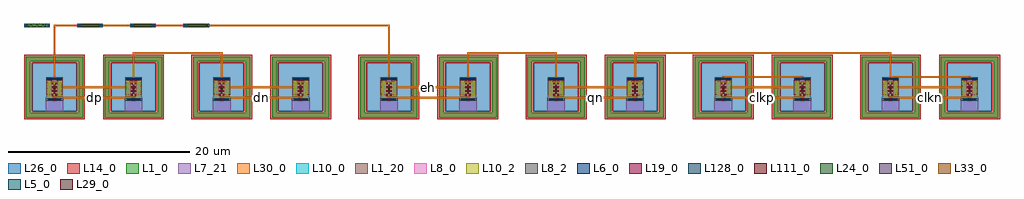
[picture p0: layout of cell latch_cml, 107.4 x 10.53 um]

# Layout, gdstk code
import gdstk
lib = gdstk.Library(unit=1e-6, precision=1e-09)
def R(c, l, rs):  # rectangles x0, y0, x1, y1
    for r in rs: c.add(gdstk.rectangle(r[:2], r[2:], *l))
def A(c, l, x, y, w, h, nx, ny, dx, dy):  # array of equal rectangles
    R(c, l, [(x+i*dx, y+j*dy, x+i*dx+w, y+j*dy+h) for i in range(nx) for j in range(ny)])
def P(c, l, *ps):  # polygons
    for p in ps: c.add(gdstk.Polygon(p, *l))
L1_0 = (1, 0)
L1_20 = (1, 20)
L5_0 = (5, 0)
L6_0 = (6, 0)
L7_21 = (7, 21)
L8_0 = (8, 0)
L8_2 = (8, 2)
L10_0 = (10, 0)
L10_2 = (10, 2)
L14_0 = (14, 0)
L19_0 = (19, 0)
L24_0 = (24, 0)
L26_0 = (26, 0)
L29_0 = (29, 0)
L30_0 = (30, 0)
L33_0 = (33, 0)
L51_0 = (51, 0)
L111_0 = (111, 0)
L128_0 = (128, 0)

npn13g2_base_cdns_675179 = lib.new_cell('npn13G2_base_CDNS_675179387640')
R(npn13g2_base_cdns_675179, L1_0, [(-0.925,-1.28,0.925,-0.98)])
P(npn13g2_base_cdns_675179, L1_20, [(-0.925,-0.98),(-0.925,0.62),(-0.445,0.62),(-0.235,0.83),(0.235,0.83),(0.445,0.62),(0.925,0.62),(0.925,-0.98)])
R(npn13g2_base_cdns_675179, L6_0, [(-0.825,-1.21,0.825,-1.05), (-0.76,1.06,0.76,1.22)])
P(npn13g2_base_cdns_675179, L7_21, [(-0.305,-0.94),(-0.555,-0.69),(-0.555,0.48),(-0.975,0.9),(-0.975,2.43),(0.975,2.43),(0.975,0.9),(0.555,0.48),(0.555,-0.69),(0.305,-0.94)])
R(npn13g2_base_cdns_675179, L8_0, [(-0.925,-1.25,0.925,-1.01), (-0.35,-0.77,0.35,0.785), (-0.975,1.02,0.975,1.26)])
R(npn13g2_base_cdns_675179, L10_0, [(-0.925,-0.77,0.925,0.785)])
A(npn13g2_base_cdns_675179, L19_0, -0.3, -0.7, 0.19, 0.19, 1, 4, 0, 0.41)
A(npn13g2_base_cdns_675179, L19_0, 0.11, -0.7, 0.19, 0.19, 1, 4, 0, 0.41)
R(npn13g2_base_cdns_675179, L33_0, [(-0.035,-0.45,0.035,0.45), (-0.035,-0.45,0.035,0.45)])
R(npn13g2_base_cdns_675179, L51_0, [(-0.085,-0.5,0.085,0.5)])
npn13g2_base_cdns_675179.add(gdstk.Label('npn13G2', (0.015,-2.31), layer=63, texttype=0))
npn13g2_base_cdns_675179.add(gdstk.Label('npn13G2_base', (0,0), layer=51, texttype=0))

npn13g2 = lib.new_cell('npn13G2')
P(npn13g2, L1_0, [(-3.15,-3.13),(-3.15,3.58),(2.65,3.58),(2.65,3.08),(-2.65,3.08),(-2.65,-2.63),(2.65,-2.63),(2.65,3.58),(3.15,3.58),(3.15,-3.13)])
R(npn13g2, L8_2, [(-0.965,-1.26,0.975,-1.02), (-0.915,1.01,0.925,1.25)])
R(npn13g2, L10_2, [(-0.745,-0.78,0.745,0.77)])
P(npn13g2, L14_0, [(-3.35,-3.33),(-3.35,3.78),(2.45,3.78),(2.45,2.88),(-2.45,2.88),(-2.45,-2.43),(2.45,-2.43),(2.45,3.78),(3.35,3.78),(3.35,-3.33)])
R(npn13g2, L26_0, [(-2.45,-2.43,2.45,2.88)])
npn13g2.add(gdstk.Reference(npn13g2_base_cdns_675179, (0,0), x_reflection=True))
npn13g2.add(gdstk.Label('Ae=1*1*0.07*0.90', (-1.977,-2.546), layer=63, texttype=0))
npn13g2.add(gdstk.Label('E', (0,-0.005), layer=63, texttype=0))
npn13g2.add(gdstk.Label('B', (0.005,-1.14), layer=63, texttype=0))
npn13g2.add(gdstk.Label('C', (0.005,1.13), layer=63, texttype=0))

xqs1__latch_cml_xqs1 = lib.new_cell('XQs1__latch_cml_XQs1')
xqs1__latch_cml_xqs1.add(gdstk.Reference(npn13g2, (3.35,3.33)))
xqs1__latch_cml_xqs1.add(gdstk.Reference(npn13g2, (12.05,3.33)))

c_npn13g2_base_cdns_675179 = lib.new_cell('npn13G2_base_CDNS_675179387640$1')
R(c_npn13g2_base_cdns_675179, L1_0, [(-0.925,-1.28,0.925,-0.98)])
P(c_npn13g2_base_cdns_675179, L1_20, [(-0.925,-0.98),(-0.925,0.62),(-0.445,0.62),(-0.235,0.83),(0.235,0.83),(0.445,0.62),(0.925,0.62),(0.925,-0.98)])
R(c_npn13g2_base_cdns_675179, L6_0, [(-0.825,-1.21,0.825,-1.05), (-0.76,1.06,0.76,1.22)])
P(c_npn13g2_base_cdns_675179, L7_21, [(-0.305,-0.94),(-0.555,-0.69),(-0.555,0.48),(-0.975,0.9),(-0.975,2.43),(0.975,2.43),(0.975,0.9),(0.555,0.48),(0.555,-0.69),(0.305,-0.94)])
R(c_npn13g2_base_cdns_675179, L8_0, [(-0.925,-1.25,0.925,-1.01), (-0.35,-0.77,0.35,0.785), (-0.975,1.02,0.975,1.26)])
R(c_npn13g2_base_cdns_675179, L10_0, [(-0.925,-0.77,0.925,0.785)])
A(c_npn13g2_base_cdns_675179, L19_0, -0.3, -0.7, 0.19, 0.19, 1, 4, 0, 0.41)
A(c_npn13g2_base_cdns_675179, L19_0, 0.11, -0.7, 0.19, 0.19, 1, 4, 0, 0.41)
R(c_npn13g2_base_cdns_675179, L33_0, [(-0.035,-0.45,0.035,0.45), (-0.035,-0.45,0.035,0.45)])
R(c_npn13g2_base_cdns_675179, L51_0, [(-0.085,-0.5,0.085,0.5)])
c_npn13g2_base_cdns_675179.add(gdstk.Label('npn13G2', (0.015,-2.31), layer=63, texttype=0))
c_npn13g2_base_cdns_675179.add(gdstk.Label('npn13G2_base', (0,0), layer=51, texttype=0))

npn13g2_1 = lib.new_cell('npn13G2$1')
P(npn13g2_1, L1_0, [(-3.15,-3.13),(-3.15,3.58),(2.65,3.58),(2.65,3.08),(-2.65,3.08),(-2.65,-2.63),(2.65,-2.63),(2.65,3.58),(3.15,3.58),(3.15,-3.13)])
R(npn13g2_1, L8_2, [(-0.965,-1.26,0.975,-1.02), (-0.915,1.01,0.925,1.25)])
R(npn13g2_1, L10_2, [(-0.745,-0.78,0.745,0.77)])
P(npn13g2_1, L14_0, [(-3.35,-3.33),(-3.35,3.78),(2.45,3.78),(2.45,2.88),(-2.45,2.88),(-2.45,-2.43),(2.45,-2.43),(2.45,3.78),(3.35,3.78),(3.35,-3.33)])
R(npn13g2_1, L26_0, [(-2.45,-2.43,2.45,2.88)])
npn13g2_1.add(gdstk.Reference(c_npn13g2_base_cdns_675179, (0,0), x_reflection=True))
npn13g2_1.add(gdstk.Label('Ae=1*1*0.07*0.90', (-1.977,-2.546), layer=63, texttype=0))
npn13g2_1.add(gdstk.Label('E', (0,-0.005), layer=63, texttype=0))
npn13g2_1.add(gdstk.Label('B', (0.005,-1.14), layer=63, texttype=0))
npn13g2_1.add(gdstk.Label('C', (0.005,1.13), layer=63, texttype=0))

xqs2__latch_cml_xqs2 = lib.new_cell('XQs2__latch_cml_XQs2')
xqs2__latch_cml_xqs2.add(gdstk.Reference(npn13g2_1, (3.35,3.33)))
xqs2__latch_cml_xqs2.add(gdstk.Reference(npn13g2_1, (12.05,3.33)))

c_npn13g2_base_cdns_675179_ = lib.new_cell('npn13G2_base_CDNS_675179387640$2')
R(c_npn13g2_base_cdns_675179_, L1_0, [(-0.925,-1.28,0.925,-0.98)])
P(c_npn13g2_base_cdns_675179_, L1_20, [(-0.925,-0.98),(-0.925,0.62),(-0.445,0.62),(-0.235,0.83),(0.235,0.83),(0.445,0.62),(0.925,0.62),(0.925,-0.98)])
R(c_npn13g2_base_cdns_675179_, L6_0, [(-0.825,-1.21,0.825,-1.05), (-0.76,1.06,0.76,1.22)])
P(c_npn13g2_base_cdns_675179_, L7_21, [(-0.305,-0.94),(-0.555,-0.69),(-0.555,0.48),(-0.975,0.9),(-0.975,2.43),(0.975,2.43),(0.975,0.9),(0.555,0.48),(0.555,-0.69),(0.305,-0.94)])
R(c_npn13g2_base_cdns_675179_, L8_0, [(-0.925,-1.25,0.925,-1.01), (-0.35,-0.77,0.35,0.785), (-0.975,1.02,0.975,1.26)])
R(c_npn13g2_base_cdns_675179_, L10_0, [(-0.925,-0.77,0.925,0.785)])
A(c_npn13g2_base_cdns_675179_, L19_0, -0.3, -0.7, 0.19, 0.19, 1, 4, 0, 0.41)
A(c_npn13g2_base_cdns_675179_, L19_0, 0.11, -0.7, 0.19, 0.19, 1, 4, 0, 0.41)
R(c_npn13g2_base_cdns_675179_, L33_0, [(-0.035,-0.45,0.035,0.45), (-0.035,-0.45,0.035,0.45)])
R(c_npn13g2_base_cdns_675179_, L51_0, [(-0.085,-0.5,0.085,0.5)])
c_npn13g2_base_cdns_675179_.add(gdstk.Label('npn13G2', (0.015,-2.31), layer=63, texttype=0))
c_npn13g2_base_cdns_675179_.add(gdstk.Label('npn13G2_base', (0,0), layer=51, texttype=0))

npn13g2_2 = lib.new_cell('npn13G2$2')
P(npn13g2_2, L1_0, [(-3.15,-3.13),(-3.15,3.58),(2.65,3.58),(2.65,3.08),(-2.65,3.08),(-2.65,-2.63),(2.65,-2.63),(2.65,3.58),(3.15,3.58),(3.15,-3.13)])
R(npn13g2_2, L8_2, [(-0.965,-1.26,0.975,-1.02), (-0.915,1.01,0.925,1.25)])
R(npn13g2_2, L10_2, [(-0.745,-0.78,0.745,0.77)])
P(npn13g2_2, L14_0, [(-3.35,-3.33),(-3.35,3.78),(2.45,3.78),(2.45,2.88),(-2.45,2.88),(-2.45,-2.43),(2.45,-2.43),(2.45,3.78),(3.35,3.78),(3.35,-3.33)])
R(npn13g2_2, L26_0, [(-2.45,-2.43,2.45,2.88)])
npn13g2_2.add(gdstk.Reference(c_npn13g2_base_cdns_675179_, (0,0), x_reflection=True))
npn13g2_2.add(gdstk.Label('Ae=1*1*0.07*0.90', (-1.977,-2.546), layer=63, texttype=0))
npn13g2_2.add(gdstk.Label('E', (0,-0.005), layer=63, texttype=0))
npn13g2_2.add(gdstk.Label('B', (0.005,-1.14), layer=63, texttype=0))
npn13g2_2.add(gdstk.Label('C', (0.005,1.13), layer=63, texttype=0))

xqh1__latch_cml_xqh1 = lib.new_cell('XQh1__latch_cml_XQh1')
xqh1__latch_cml_xqh1.add(gdstk.Reference(npn13g2_2, (3.35,3.33)))
xqh1__latch_cml_xqh1.add(gdstk.Reference(npn13g2_2, (12.05,3.33)))

c_npn13g2_base_cdns_675179__ = lib.new_cell('npn13G2_base_CDNS_675179387640$3')
R(c_npn13g2_base_cdns_675179__, L1_0, [(-0.925,-1.28,0.925,-0.98)])
P(c_npn13g2_base_cdns_675179__, L1_20, [(-0.925,-0.98),(-0.925,0.62),(-0.445,0.62),(-0.235,0.83),(0.235,0.83),(0.445,0.62),(0.925,0.62),(0.925,-0.98)])
R(c_npn13g2_base_cdns_675179__, L6_0, [(-0.825,-1.21,0.825,-1.05), (-0.76,1.06,0.76,1.22)])
P(c_npn13g2_base_cdns_675179__, L7_21, [(-0.305,-0.94),(-0.555,-0.69),(-0.555,0.48),(-0.975,0.9),(-0.975,2.43),(0.975,2.43),(0.975,0.9),(0.555,0.48),(0.555,-0.69),(0.305,-0.94)])
R(c_npn13g2_base_cdns_675179__, L8_0, [(-0.925,-1.25,0.925,-1.01), (-0.35,-0.77,0.35,0.785), (-0.975,1.02,0.975,1.26)])
R(c_npn13g2_base_cdns_675179__, L10_0, [(-0.925,-0.77,0.925,0.785)])
A(c_npn13g2_base_cdns_675179__, L19_0, -0.3, -0.7, 0.19, 0.19, 1, 4, 0, 0.41)
A(c_npn13g2_base_cdns_675179__, L19_0, 0.11, -0.7, 0.19, 0.19, 1, 4, 0, 0.41)
R(c_npn13g2_base_cdns_675179__, L33_0, [(-0.035,-0.45,0.035,0.45), (-0.035,-0.45,0.035,0.45)])
R(c_npn13g2_base_cdns_675179__, L51_0, [(-0.085,-0.5,0.085,0.5)])
c_npn13g2_base_cdns_675179__.add(gdstk.Label('npn13G2', (0.015,-2.31), layer=63, texttype=0))
c_npn13g2_base_cdns_675179__.add(gdstk.Label('npn13G2_base', (0,0), layer=51, texttype=0))

npn13g2_3 = lib.new_cell('npn13G2$3')
P(npn13g2_3, L1_0, [(-3.15,-3.13),(-3.15,3.58),(2.65,3.58),(2.65,3.08),(-2.65,3.08),(-2.65,-2.63),(2.65,-2.63),(2.65,3.58),(3.15,3.58),(3.15,-3.13)])
R(npn13g2_3, L8_2, [(-0.965,-1.26,0.975,-1.02), (-0.915,1.01,0.925,1.25)])
R(npn13g2_3, L10_2, [(-0.745,-0.78,0.745,0.77)])
P(npn13g2_3, L14_0, [(-3.35,-3.33),(-3.35,3.78),(2.45,3.78),(2.45,2.88),(-2.45,2.88),(-2.45,-2.43),(2.45,-2.43),(2.45,3.78),(3.35,3.78),(3.35,-3.33)])
R(npn13g2_3, L26_0, [(-2.45,-2.43,2.45,2.88)])
npn13g2_3.add(gdstk.Reference(c_npn13g2_base_cdns_675179__, (0,0), x_reflection=True))
npn13g2_3.add(gdstk.Label('Ae=1*1*0.07*0.90', (-1.977,-2.546), layer=63, texttype=0))
npn13g2_3.add(gdstk.Label('E', (0,-0.005), layer=63, texttype=0))
npn13g2_3.add(gdstk.Label('B', (0.005,-1.14), layer=63, texttype=0))
npn13g2_3.add(gdstk.Label('C', (0.005,1.13), layer=63, texttype=0))

xqh2__latch_cml_xqh2 = lib.new_cell('XQh2__latch_cml_XQh2')
xqh2__latch_cml_xqh2.add(gdstk.Reference(npn13g2_3, (3.35,3.33)))
xqh2__latch_cml_xqh2.add(gdstk.Reference(npn13g2_3, (12.05,3.33)))

c_npn13g2_base_cdns_675179___ = lib.new_cell('npn13G2_base_CDNS_675179387640$4')
R(c_npn13g2_base_cdns_675179___, L1_0, [(-0.925,-1.28,0.925,-0.98)])
P(c_npn13g2_base_cdns_675179___, L1_20, [(-0.925,-0.98),(-0.925,0.62),(-0.445,0.62),(-0.235,0.83),(0.235,0.83),(0.445,0.62),(0.925,0.62),(0.925,-0.98)])
R(c_npn13g2_base_cdns_675179___, L6_0, [(-0.825,-1.21,0.825,-1.05), (-0.76,1.06,0.76,1.22)])
P(c_npn13g2_base_cdns_675179___, L7_21, [(-0.305,-0.94),(-0.555,-0.69),(-0.555,0.48),(-0.975,0.9),(-0.975,2.43),(0.975,2.43),(0.975,0.9),(0.555,0.48),(0.555,-0.69),(0.305,-0.94)])
R(c_npn13g2_base_cdns_675179___, L8_0, [(-0.925,-1.25,0.925,-1.01), (-0.35,-0.77,0.35,0.785), (-0.975,1.02,0.975,1.26)])
R(c_npn13g2_base_cdns_675179___, L10_0, [(-0.925,-0.77,0.925,0.785)])
A(c_npn13g2_base_cdns_675179___, L19_0, -0.3, -0.7, 0.19, 0.19, 1, 4, 0, 0.41)
A(c_npn13g2_base_cdns_675179___, L19_0, 0.11, -0.7, 0.19, 0.19, 1, 4, 0, 0.41)
R(c_npn13g2_base_cdns_675179___, L33_0, [(-0.035,-0.45,0.035,0.45), (-0.035,-0.45,0.035,0.45)])
R(c_npn13g2_base_cdns_675179___, L51_0, [(-0.085,-0.5,0.085,0.5)])
c_npn13g2_base_cdns_675179___.add(gdstk.Label('npn13G2', (0.015,-2.31), layer=63, texttype=0))
c_npn13g2_base_cdns_675179___.add(gdstk.Label('npn13G2_base', (0,0), layer=51, texttype=0))

npn13g2_4 = lib.new_cell('npn13G2$4')
P(npn13g2_4, L1_0, [(-3.15,-3.13),(-3.15,3.58),(2.65,3.58),(2.65,3.08),(-2.65,3.08),(-2.65,-2.63),(2.65,-2.63),(2.65,3.58),(3.15,3.58),(3.15,-3.13)])
R(npn13g2_4, L8_2, [(-0.965,-1.26,0.975,-1.02), (-0.915,1.01,0.925,1.25)])
R(npn13g2_4, L10_2, [(-0.745,-0.78,0.745,0.77)])
P(npn13g2_4, L14_0, [(-3.35,-3.33),(-3.35,3.78),(2.45,3.78),(2.45,2.88),(-2.45,2.88),(-2.45,-2.43),(2.45,-2.43),(2.45,3.78),(3.35,3.78),(3.35,-3.33)])
R(npn13g2_4, L26_0, [(-2.45,-2.43,2.45,2.88)])
npn13g2_4.add(gdstk.Reference(c_npn13g2_base_cdns_675179___, (0,0), x_reflection=True))
npn13g2_4.add(gdstk.Label('Ae=1*1*0.07*0.90', (-1.977,-2.546), layer=63, texttype=0))
npn13g2_4.add(gdstk.Label('E', (0,-0.005), layer=63, texttype=0))
npn13g2_4.add(gdstk.Label('B', (0.005,-1.14), layer=63, texttype=0))
npn13g2_4.add(gdstk.Label('C', (0.005,1.13), layer=63, texttype=0))

xqts__latch_cml_xqts = lib.new_cell('XQts__latch_cml_XQts')
xqts__latch_cml_xqts.add(gdstk.Reference(npn13g2_4, (3.35,3.33)))
xqts__latch_cml_xqts.add(gdstk.Reference(npn13g2_4, (12.05,3.33)))

c_npn13g2_base_cdns_675179____ = lib.new_cell('npn13G2_base_CDNS_675179387640$5')
R(c_npn13g2_base_cdns_675179____, L1_0, [(-0.925,-1.28,0.925,-0.98)])
P(c_npn13g2_base_cdns_675179____, L1_20, [(-0.925,-0.98),(-0.925,0.62),(-0.445,0.62),(-0.235,0.83),(0.235,0.83),(0.445,0.62),(0.925,0.62),(0.925,-0.98)])
R(c_npn13g2_base_cdns_675179____, L6_0, [(-0.825,-1.21,0.825,-1.05), (-0.76,1.06,0.76,1.22)])
P(c_npn13g2_base_cdns_675179____, L7_21, [(-0.305,-0.94),(-0.555,-0.69),(-0.555,0.48),(-0.975,0.9),(-0.975,2.43),(0.975,2.43),(0.975,0.9),(0.555,0.48),(0.555,-0.69),(0.305,-0.94)])
R(c_npn13g2_base_cdns_675179____, L8_0, [(-0.925,-1.25,0.925,-1.01), (-0.35,-0.77,0.35,0.785), (-0.975,1.02,0.975,1.26)])
R(c_npn13g2_base_cdns_675179____, L10_0, [(-0.925,-0.77,0.925,0.785)])
A(c_npn13g2_base_cdns_675179____, L19_0, -0.3, -0.7, 0.19, 0.19, 1, 4, 0, 0.41)
A(c_npn13g2_base_cdns_675179____, L19_0, 0.11, -0.7, 0.19, 0.19, 1, 4, 0, 0.41)
R(c_npn13g2_base_cdns_675179____, L33_0, [(-0.035,-0.45,0.035,0.45), (-0.035,-0.45,0.035,0.45)])
R(c_npn13g2_base_cdns_675179____, L51_0, [(-0.085,-0.5,0.085,0.5)])
c_npn13g2_base_cdns_675179____.add(gdstk.Label('npn13G2', (0.015,-2.31), layer=63, texttype=0))
c_npn13g2_base_cdns_675179____.add(gdstk.Label('npn13G2_base', (0,0), layer=51, texttype=0))

npn13g2_5 = lib.new_cell('npn13G2$5')
P(npn13g2_5, L1_0, [(-3.15,-3.13),(-3.15,3.58),(2.65,3.58),(2.65,3.08),(-2.65,3.08),(-2.65,-2.63),(2.65,-2.63),(2.65,3.58),(3.15,3.58),(3.15,-3.13)])
R(npn13g2_5, L8_2, [(-0.965,-1.26,0.975,-1.02), (-0.915,1.01,0.925,1.25)])
R(npn13g2_5, L10_2, [(-0.745,-0.78,0.745,0.77)])
P(npn13g2_5, L14_0, [(-3.35,-3.33),(-3.35,3.78),(2.45,3.78),(2.45,2.88),(-2.45,2.88),(-2.45,-2.43),(2.45,-2.43),(2.45,3.78),(3.35,3.78),(3.35,-3.33)])
R(npn13g2_5, L26_0, [(-2.45,-2.43,2.45,2.88)])
npn13g2_5.add(gdstk.Reference(c_npn13g2_base_cdns_675179____, (0,0), x_reflection=True))
npn13g2_5.add(gdstk.Label('Ae=1*1*0.07*0.90', (-1.977,-2.546), layer=63, texttype=0))
npn13g2_5.add(gdstk.Label('E', (0,-0.005), layer=63, texttype=0))
npn13g2_5.add(gdstk.Label('B', (0.005,-1.14), layer=63, texttype=0))
npn13g2_5.add(gdstk.Label('C', (0.005,1.13), layer=63, texttype=0))

xqth__latch_cml_xqth = lib.new_cell('XQth__latch_cml_XQth')
xqth__latch_cml_xqth.add(gdstk.Reference(npn13g2_5, (3.35,3.33)))
xqth__latch_cml_xqth.add(gdstk.Reference(npn13g2_5, (12.05,3.33)))

latch_cml_rts__core = lib.new_cell('latch_cml_Rts__core')
R(latch_cml_rts__core, L5_0, [(0,0,0.42,0.42), (2.42,0,2.84,0.42)])
R(latch_cml_rts__core, L6_0, [(0.13,0.13,0.29,0.29), (2.55,0.13,2.71,0.29)])
R(latch_cml_rts__core, L8_0, [(0,0,0.42,0.42), (2.42,0,2.84,0.42)])
R(latch_cml_rts__core, L24_0, [(0.42,0,2.42,0.42)])
R(latch_cml_rts__core, L111_0, [(0.42,0,2.42,0.42)])
R(latch_cml_rts__core, L128_0, [(0.42,0,2.42,0.42)])

rts__latch_cml_rts = lib.new_cell('Rts__latch_cml_Rts')
rts__latch_cml_rts.add(gdstk.Reference(latch_cml_rts__core, (0,0)))

latch_cml_rth__core = lib.new_cell('latch_cml_Rth__core')
R(latch_cml_rth__core, L5_0, [(0,0,0.42,0.42), (2.42,0,2.84,0.42)])
R(latch_cml_rth__core, L6_0, [(0.13,0.13,0.29,0.29), (2.55,0.13,2.71,0.29)])
R(latch_cml_rth__core, L8_0, [(0,0,0.42,0.42), (2.42,0,2.84,0.42)])
R(latch_cml_rth__core, L24_0, [(0.42,0,2.42,0.42)])
R(latch_cml_rth__core, L111_0, [(0.42,0,2.42,0.42)])
R(latch_cml_rth__core, L128_0, [(0.42,0,2.42,0.42)])

rth__latch_cml_rth = lib.new_cell('Rth__latch_cml_Rth')
rth__latch_cml_rth.add(gdstk.Reference(latch_cml_rth__core, (0,0)))

latch_cml_rlp__core = lib.new_cell('latch_cml_RLp__core')
R(latch_cml_rlp__core, L5_0, [(0,0,0.42,0.42), (2.42,0,2.84,0.42)])
R(latch_cml_rlp__core, L6_0, [(0.13,0.13,0.29,0.29), (2.55,0.13,2.71,0.29)])
R(latch_cml_rlp__core, L8_0, [(0,0,0.42,0.42), (2.42,0,2.84,0.42)])
R(latch_cml_rlp__core, L24_0, [(0.42,0,2.42,0.42)])
R(latch_cml_rlp__core, L111_0, [(0.42,0,2.42,0.42)])
R(latch_cml_rlp__core, L128_0, [(0.42,0,2.42,0.42)])

rlp__latch_cml_rlp = lib.new_cell('RLp__latch_cml_RLp')
rlp__latch_cml_rlp.add(gdstk.Reference(latch_cml_rlp__core, (0,0)))

latch_cml_rln__core = lib.new_cell('latch_cml_RLn__core')
R(latch_cml_rln__core, L5_0, [(0,0,0.42,0.42), (2.42,0,2.84,0.42)])
R(latch_cml_rln__core, L6_0, [(0.13,0.13,0.29,0.29), (2.55,0.13,2.71,0.29)])
R(latch_cml_rln__core, L8_0, [(0,0,0.42,0.42), (2.42,0,2.84,0.42)])
R(latch_cml_rln__core, L24_0, [(0.42,0,2.42,0.42)])
R(latch_cml_rln__core, L111_0, [(0.42,0,2.42,0.42)])
R(latch_cml_rln__core, L128_0, [(0.42,0,2.42,0.42)])

rln__latch_cml_rln = lib.new_cell('RLn__latch_cml_RLn')
rln__latch_cml_rln.add(gdstk.Reference(latch_cml_rln__core, (0,0)))

latch_cml = lib.new_cell('latch_cml')
A(latch_cml, L8_0, 3.145, 4.25, 0.42, 0.42, 3, 1, 36.8, 0)
R(latch_cml, L8_0, [(3.145,1.98,3.565,2.4), (11.845,1.98,12.265,2.4), (21.545,1.98,21.965,2.4), (30.245,1.98,30.665,2.4), (39.945,1.98,40.365,2.4), (48.645,1.98,49.065,2.4), (58.345,1.98,58.765,2.4), (67.045,1.98,67.465,2.4), (76.745,1.98,77.165,2.4), (85.445,1.98,85.865,2.4), (95.145,1.98,95.565,2.4), (103.845,1.98,104.265,2.4), (3.14,3.115,3.56,3.535), (11.84,3.115,12.26,3.535), (11.84,3.115,12.26,3.535), (21.54,3.115,21.96,3.535), (21.54,3.115,21.96,3.535), (30.24,3.115,30.66,3.535), (39.94,3.115,40.36,3.535), (48.64,3.115,49.06,3.535), (48.64,3.115,49.06,3.535), (58.34,3.115,58.76,3.535), (58.34,3.115,58.76,3.535), (67.04,3.115,67.46,3.535), (67.04,3.115,67.46,3.535), (76.74,3.115,77.16,3.535), (85.44,3.115,85.86,3.535), (95.14,3.115,95.56,3.535), (103.84,3.115,104.26,3.535), (85.445,4.25,85.865,4.67), (95.145,4.25,95.565,4.67), (95.145,4.25,95.565,4.67), (103.845,4.25,104.265,4.67), (19.94,10.11,20.36,10.53), (19.94,10.11,20.36,10.53)])
R(latch_cml, L10_0, [(3.145,1.98,3.565,2.4), (3.145,1.98,3.565,2.4), (11.845,1.98,12.265,2.4), (11.845,1.98,12.265,2.4), (21.545,1.98,21.965,2.4), (21.545,1.98,21.965,2.4), (30.245,1.98,30.665,2.4), (30.245,1.98,30.665,2.4), (39.945,1.98,40.365,2.4), (39.945,1.98,40.365,2.4), (48.645,1.98,49.065,2.4), (48.645,1.98,49.065,2.4), (58.345,1.98,58.765,2.4), (58.345,1.98,58.765,2.4), (67.045,1.98,67.465,2.4), (67.045,1.98,67.465,2.4), (76.745,1.98,77.165,2.4), (76.745,1.98,77.165,2.4), (85.445,1.98,85.865,2.4), (85.445,1.98,85.865,2.4), (95.145,1.98,95.565,2.4), (95.145,1.98,95.565,2.4), (103.845,1.98,104.265,2.4), (103.845,1.98,104.265,2.4), (3.14,3.115,3.56,3.535), (3.14,3.115,3.56,3.535), (11.84,3.115,12.26,3.535), (11.84,3.115,12.26,3.535), (11.84,3.115,12.26,3.535), (11.84,3.115,12.26,3.535), (21.54,3.115,21.96,3.535), (21.54,3.115,21.96,3.535), (21.54,3.115,21.96,3.535), (21.54,3.115,21.96,3.535), (30.24,3.115,30.66,3.535), (30.24,3.115,30.66,3.535), (39.94,3.115,40.36,3.535), (39.94,3.115,40.36,3.535), (48.64,3.115,49.06,3.535), (48.64,3.115,49.06,3.535), (48.64,3.115,49.06,3.535), (48.64,3.115,49.06,3.535), (58.34,3.115,58.76,3.535), (58.34,3.115,58.76,3.535), (58.34,3.115,58.76,3.535), (58.34,3.115,58.76,3.535), (67.04,3.115,67.46,3.535), (67.04,3.115,67.46,3.535), (67.04,3.115,67.46,3.535), (67.04,3.115,67.46,3.535), (76.74,3.115,77.16,3.535), (76.74,3.115,77.16,3.535), (85.44,3.115,85.86,3.535), (85.44,3.115,85.86,3.535), (95.14,3.115,95.56,3.535), (95.14,3.115,95.56,3.535), (103.84,3.115,104.26,3.535), (103.84,3.115,104.26,3.535), (3.145,4.25,3.565,4.67), (3.145,4.25,3.565,4.67), (39.945,4.25,40.365,4.67), (39.945,4.25,40.365,4.67), (76.745,4.25,77.165,4.67), (76.745,4.25,77.165,4.67), (85.445,4.25,85.865,4.67), (85.445,4.25,85.865,4.67), (95.145,4.25,95.565,4.67), (95.145,4.25,95.565,4.67), (95.145,4.25,95.565,4.67), (95.145,4.25,95.565,4.67), (103.845,4.25,104.265,4.67), (103.845,4.25,104.265,4.67), (19.94,10.11,20.36,10.53), (19.94,10.11,20.36,10.53), (19.94,10.11,20.36,10.53), (19.94,10.11,20.36,10.53)])
A(latch_cml, L19_0, 3.26, 4.365, 0.19, 0.19, 3, 1, 36.8, 0)
R(latch_cml, L19_0, [(3.26,2.095,3.45,2.285), (11.96,2.095,12.15,2.285), (21.66,2.095,21.85,2.285), (30.36,2.095,30.55,2.285), (40.06,2.095,40.25,2.285), (48.76,2.095,48.95,2.285), (58.46,2.095,58.65,2.285), (67.16,2.095,67.35,2.285), (76.86,2.095,77.05,2.285), (85.56,2.095,85.75,2.285), (95.26,2.095,95.45,2.285), (103.96,2.095,104.15,2.285), (3.255,3.23,3.445,3.42), (11.955,3.23,12.145,3.42), (11.955,3.23,12.145,3.42), (21.655,3.23,21.845,3.42), (21.655,3.23,21.845,3.42), (30.355,3.23,30.545,3.42), (40.055,3.23,40.245,3.42), (48.755,3.23,48.945,3.42), (48.755,3.23,48.945,3.42), (58.455,3.23,58.645,3.42), (58.455,3.23,58.645,3.42), (67.155,3.23,67.345,3.42), (67.155,3.23,67.345,3.42), (76.855,3.23,77.045,3.42), (85.555,3.23,85.745,3.42), (95.255,3.23,95.445,3.42), (103.955,3.23,104.145,3.42), (85.56,4.365,85.75,4.555), (95.26,4.365,95.45,4.555), (95.26,4.365,95.45,4.555), (103.96,4.365,104.15,4.555), (20.055,10.225,20.245,10.415), (20.055,10.225,20.245,10.415)])
A(latch_cml, L29_0, 3.26, 4.365, 0.19, 0.19, 3, 1, 36.8, 0)
R(latch_cml, L29_0, [(3.26,2.095,3.45,2.285), (11.96,2.095,12.15,2.285), (21.66,2.095,21.85,2.285), (30.36,2.095,30.55,2.285), (40.06,2.095,40.25,2.285), (48.76,2.095,48.95,2.285), (58.46,2.095,58.65,2.285), (67.16,2.095,67.35,2.285), (76.86,2.095,77.05,2.285), (85.56,2.095,85.75,2.285), (95.26,2.095,95.45,2.285), (103.96,2.095,104.15,2.285), (3.255,3.23,3.445,3.42), (11.955,3.23,12.145,3.42), (11.955,3.23,12.145,3.42), (21.655,3.23,21.845,3.42), (21.655,3.23,21.845,3.42), (30.355,3.23,30.545,3.42), (40.055,3.23,40.245,3.42), (48.755,3.23,48.945,3.42), (48.755,3.23,48.945,3.42), (58.455,3.23,58.645,3.42), (58.455,3.23,58.645,3.42), (67.155,3.23,67.345,3.42), (67.155,3.23,67.345,3.42), (76.855,3.23,77.045,3.42), (85.555,3.23,85.745,3.42), (95.255,3.23,95.445,3.42), (103.955,3.23,104.145,3.42), (85.56,4.365,85.75,4.555), (95.26,4.365,95.45,4.555), (95.26,4.365,95.45,4.555), (103.96,4.365,104.15,4.555), (20.055,10.225,20.245,10.415), (20.055,10.225,20.245,10.415)])
A(latch_cml, L30_0, 3.145, 4.25, 0.42, 0.42, 3, 1, 36.8, 0)
R(latch_cml, L30_0, [(3.145,1.98,3.565,2.4), (11.845,1.98,12.265,2.4), (21.545,1.98,21.965,2.4), (30.245,1.98,30.665,2.4), (39.945,1.98,40.365,2.4), (48.645,1.98,49.065,2.4), (58.345,1.98,58.765,2.4), (67.045,1.98,67.465,2.4), (76.745,1.98,77.165,2.4), (85.445,1.98,85.865,2.4), (95.145,1.98,95.565,2.4), (103.845,1.98,104.265,2.4), (3.14,3.115,3.56,3.535), (11.84,3.115,12.26,3.535), (11.84,3.115,12.26,3.535), (21.54,3.115,21.96,3.535), (21.54,3.115,21.96,3.535), (30.24,3.115,30.66,3.535), (39.94,3.115,40.36,3.535), (48.64,3.115,49.06,3.535), (48.64,3.115,49.06,3.535), (58.34,3.115,58.76,3.535), (58.34,3.115,58.76,3.535), (67.04,3.115,67.46,3.535), (67.04,3.115,67.46,3.535), (76.74,3.115,77.16,3.535), (85.44,3.115,85.86,3.535), (95.14,3.115,95.56,3.535), (103.84,3.115,104.26,3.535), (85.445,4.25,85.865,4.67), (95.145,4.25,95.565,4.67), (95.145,4.25,95.565,4.67), (103.845,4.25,104.265,4.67), (19.94,10.11,20.36,10.53), (19.94,10.11,20.36,10.53)])
latch_cml.add(gdstk.FlexPath([(95.355,2.19),(95.355,2.39),(104.055,2.39),(104.055,2.19)], 0.2, ends="flush", simple_path=True, layer=30, datatype=0))  # L30_0
latch_cml.add(gdstk.FlexPath([(76.955,2.19),(76.955,2.39),(85.655,2.39),(85.655,2.19)], 0.2, ends="flush", simple_path=True, layer=30, datatype=0))  # L30_0
latch_cml.add(gdstk.FlexPath([(21.755,2.19),(21.755,2.39),(30.455,2.39),(30.455,2.19)], 0.2, ends="flush", simple_path=True, layer=30, datatype=0))  # L30_0
latch_cml.add(gdstk.FlexPath([(3.355,2.19),(3.355,2.39),(12.055,2.39),(12.055,2.19)], 0.2, ends="flush", simple_path=True, layer=30, datatype=0))  # L30_0
latch_cml.add(gdstk.FlexPath([(40.15,3.325),(40.15,3.525),(48.85,3.525),(48.85,3.325)], 0.2, ends="flush", simple_path=True, layer=30, datatype=0))  # L30_0
latch_cml.add(gdstk.FlexPath([(58.55,3.325),(58.55,3.525),(67.25,3.525),(67.25,3.325)], 0.2, ends="flush", simple_path=True, layer=30, datatype=0))  # L30_0
latch_cml.add(gdstk.FlexPath([(95.355,4.46),(95.355,4.66),(104.055,4.66),(104.055,4.46)], 0.2, ends="flush", simple_path=True, layer=30, datatype=0))  # L30_0
latch_cml.add(gdstk.FlexPath([(48.85,3.325),(48.85,7.31),(58.55,7.31),(58.55,3.325)], 0.2, ends="flush", simple_path=True, layer=30, datatype=0))  # L30_0
latch_cml.add(gdstk.FlexPath([(67.25,3.325),(67.25,7.31),(95.355,7.31),(95.355,4.46)], 0.2, ends="flush", simple_path=True, layer=30, datatype=0))  # L30_0
latch_cml.add(gdstk.FlexPath([(21.75,3.325),(21.75,3.525),(30.45,3.525),(30.45,3.325)], 0.2, ends="flush", simple_path=True, layer=30, datatype=0))  # L30_0
latch_cml.add(gdstk.FlexPath([(3.35,3.325),(3.35,3.525),(12.05,3.525),(12.05,3.325)], 0.2, ends="flush", simple_path=True, layer=30, datatype=0))  # L30_0
latch_cml.add(gdstk.FlexPath([(76.955,4.46),(76.955,4.66),(85.655,4.66),(85.655,4.46)], 0.2, ends="flush", simple_path=True, layer=30, datatype=0))  # L30_0
latch_cml.add(gdstk.FlexPath([(12.05,3.325),(12.05,7.31),(21.75,7.31),(21.75,3.325)], 0.2, ends="flush", simple_path=True, layer=30, datatype=0))  # L30_0
latch_cml.add(gdstk.FlexPath([(95.35,3.325),(95.35,3.525),(104.05,3.525),(104.05,3.325)], 0.2, ends="flush", simple_path=True, layer=30, datatype=0))  # L30_0
latch_cml.add(gdstk.FlexPath([(76.95,3.325),(76.95,3.525),(85.65,3.525),(85.65,3.325)], 0.2, ends="flush", simple_path=True, layer=30, datatype=0))  # L30_0
latch_cml.add(gdstk.FlexPath([(58.555,2.19),(58.555,2.39),(67.255,2.39),(67.255,2.19)], 0.2, ends="flush", simple_path=True, layer=30, datatype=0))  # L30_0
latch_cml.add(gdstk.FlexPath([(3.355,4.46),(3.355,10.32),(20.15,10.32)], 0.2, ends="flush", simple_path=True, layer=30, datatype=0))  # L30_0
latch_cml.add(gdstk.FlexPath([(40.155,4.46),(40.155,10.32),(20.15,10.32)], 0.2, ends="flush", simple_path=True, layer=30, datatype=0))  # L30_0
latch_cml.add(gdstk.FlexPath([(40.155,2.19),(40.155,2.39),(48.855,2.39),(48.855,2.19)], 0.2, ends="flush", simple_path=True, layer=30, datatype=0))  # L30_0
latch_cml.add(gdstk.Reference(xqs1__latch_cml_xqs1, (0,0)))
latch_cml.add(gdstk.Reference(xqs2__latch_cml_xqs2, (18.4,0)))
latch_cml.add(gdstk.Reference(xqh1__latch_cml_xqh1, (36.8,0)))
latch_cml.add(gdstk.Reference(xqh2__latch_cml_xqh2, (55.2,0)))
latch_cml.add(gdstk.Reference(xqts__latch_cml_xqts, (73.6,0)))
latch_cml.add(gdstk.Reference(xqth__latch_cml_xqth, (92,0)))
latch_cml.add(gdstk.Reference(rts__latch_cml_rts, (0,10.11)))
latch_cml.add(gdstk.Reference(rth__latch_cml_rth, (5.84,10.11)))
latch_cml.add(gdstk.Reference(rlp__latch_cml_rlp, (11.68,10.11)))
latch_cml.add(gdstk.Reference(rln__latch_cml_rln, (17.52,10.11)))
latch_cml.add(gdstk.Label('clkn', (99.705,2.39), layer=30, texttype=25))
latch_cml.add(gdstk.Label('clkp', (81.305,2.39), layer=30, texttype=25))
latch_cml.add(gdstk.Label('dn', (26.105,2.39), layer=30, texttype=25))
latch_cml.add(gdstk.Label('dp', (7.705,2.39), layer=30, texttype=25))
latch_cml.add(gdstk.Label('eh', (44.5,3.525), layer=30, texttype=25))
latch_cml.add(gdstk.Label('es', (26.1,3.525), layer=30, texttype=25))
latch_cml.add(gdstk.Label('eth', (99.7,3.525), layer=30, texttype=25))
latch_cml.add(gdstk.Label('ets', (81.3,3.525), layer=30, texttype=25))
latch_cml.add(gdstk.Label('qn', (62.905,2.39), layer=30, texttype=25))
latch_cml.add(gdstk.Label('qp', (44.505,2.39), layer=30, texttype=25))

lib.write_gds('latch_cml.gds')
